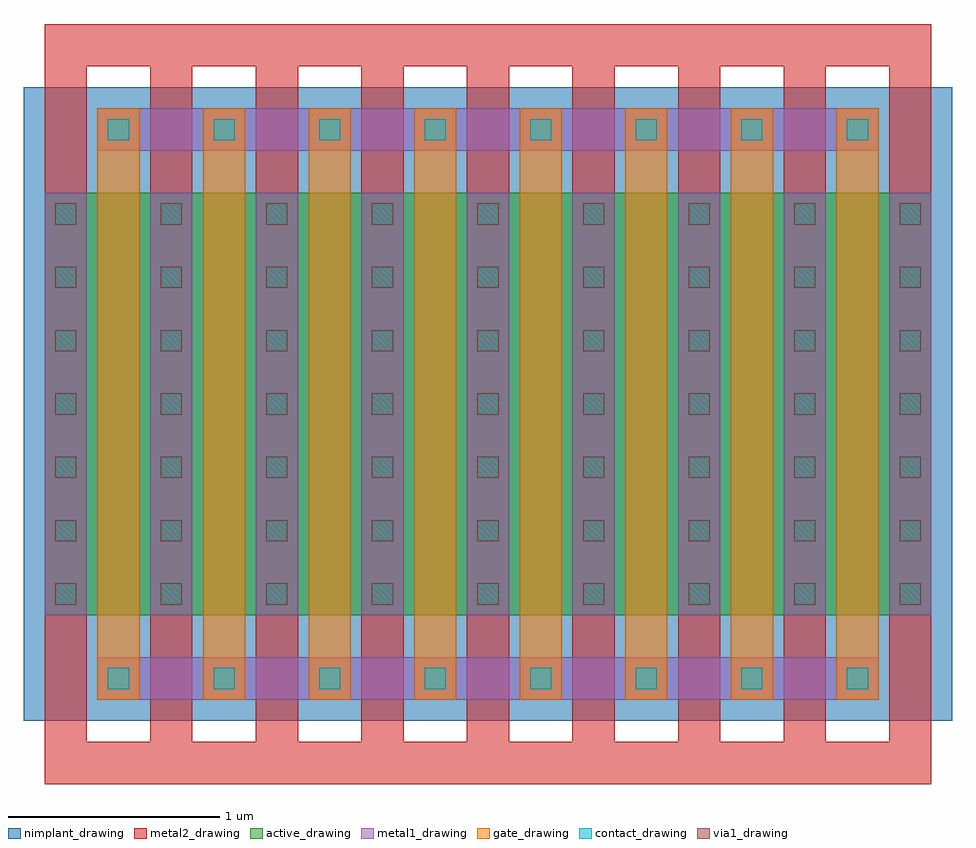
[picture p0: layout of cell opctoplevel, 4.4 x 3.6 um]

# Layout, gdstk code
import gdstk
lib = gdstk.Library(unit=1e-6, precision=1e-09)
def R(c, l, rs):  # rectangles x0, y0, x1, y1
    for r in rs: c.add(gdstk.rectangle(r[:2], r[2:], *l))
def A(c, l, x, y, w, h, nx, ny, dx, dy):  # array of equal rectangles
    R(c, l, [(x+i*dx, y+j*dy, x+i*dx+w, y+j*dy+h) for i in range(nx) for j in range(ny)])
active_drawing = (1, 0)
nimplant_drawing = (5, 0)
gate_drawing = (6, 0)
contact_drawing = (7, 0)
metal1_drawing = (8, 0)
via1_drawing = (9, 0)
metal2_drawing = (10, 0)

opctoplevel = lib.new_cell('opctoplevel')
R(opctoplevel, active_drawing, [(-0.25,0,3.95,2)])
R(opctoplevel, nimplant_drawing, [(-0.35,-0.5,4.05,2.5)])
A(opctoplevel, gate_drawing, 0, -0.4, 0.2, 2.8, 8, 1, 0.5, 0)
A(opctoplevel, contact_drawing, 0.05, -0.35, 0.1, 0.1, 8, 2, 0.5, 2.6)
A(opctoplevel, contact_drawing, -0.2, 0.05, 0.1, 0.1, 9, 7, 0.5, 0.3)
A(opctoplevel, metal1_drawing, -0.25, 0, 0.2, 2, 9, 1, 0.5, 0)
R(opctoplevel, metal1_drawing, [(0,-0.4,3.7,-0.2), (0,2.2,3.7,2.4)])
A(opctoplevel, via1_drawing, -0.2, 0.05, 0.1, 0.1, 9, 7, 0.5, 0.3)
A(opctoplevel, metal2_drawing, -0.25, -0.6, 0.2, 0.6, 9, 2, 0.5, 2.6)
A(opctoplevel, metal2_drawing, -0.25, 0, 0.2, 2, 9, 1, 0.5, 0)
R(opctoplevel, metal2_drawing, [(-0.25,-0.8,3.95,-0.6), (0.25,-0.8,3.45,-0.6), (-0.25,2.6,3.95,2.8), (0.25,2.6,3.45,2.8)])

lib.write_gds('opctoplevel.gds')
